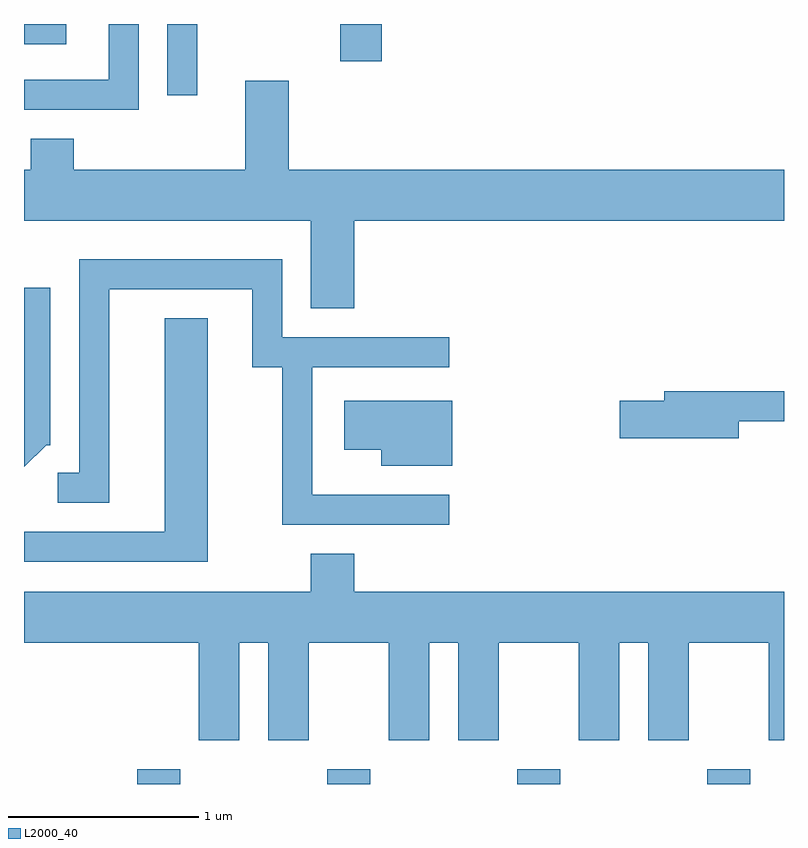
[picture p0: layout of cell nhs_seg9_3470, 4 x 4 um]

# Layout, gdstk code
import gdstk
lib = gdstk.Library(unit=1e-6, precision=1e-09)
def R(c, l, rs):  # rectangles x0, y0, x1, y1
    for r in rs: c.add(gdstk.rectangle(r[:2], r[2:], *l))
def A(c, l, x, y, w, h, nx, ny, dx, dy):  # array of equal rectangles
    R(c, l, [(x+i*dx, y+j*dy, x+i*dx+w, y+j*dy+h) for i in range(nx) for j in range(ny)])
def P(c, l, *ps):  # polygons
    for p in ps: c.add(gdstk.Polygon(p, *l))
L2000_40 = (2000, 40)

nhs_seg9_3470 = lib.new_cell('nhs_seg9_3470')
A(nhs_seg9_3470, L2000_40, 288.206, 1964.432, 0.228, 0.077, 4, 1, 1, 0)
R(nhs_seg9_3470, L2000_40, [(288.366,1968.058,288.524,1968.432), (289.276,1968.236,289.494,1968.432), (287.611,1968.326,287.834,1968.432)])
P(nhs_seg9_3470, L2000_40, [(288.214,1968.432),(288.056,1968.432),(288.056,1968.139),(287.611,1968.139),(287.611,1967.981),(288.214,1967.981)],
  [(289.349,1967.396),(291.611,1967.396),(291.611,1967.664),(289.004,1967.664),(289.004,1968.134),(288.776,1968.134),(288.776,1967.664),(287.874,1967.664),(287.874,1967.829),(287.646,1967.829),(287.646,1967.664),(287.611,1967.664),(287.611,1967.396),(289.121,1967.396),(289.121,1966.936),(289.349,1966.936)],
  [(289.848,1965.954),(289.129,1965.954),(289.129,1966.626),(289.848,1966.626),(289.848,1966.784),(288.969,1966.784),(288.969,1967.194),(287.901,1967.194),(287.901,1966.069),(287.788,1966.069),(287.788,1965.911),(288.059,1965.911),(288.059,1967.036),(288.811,1967.036),(288.811,1966.626),(288.971,1966.626),(288.971,1965.796),(289.848,1965.796)],
  [(287.727,1966.216),(287.749,1966.216),(287.749,1967.044),(287.611,1967.044),(287.611,1966.101)],
  [(288.579,1966.884),(288.351,1966.884),(288.351,1965.759),(287.611,1965.759),(287.611,1965.601),(288.579,1965.601)],
  [(291.374,1966.341),(291.611,1966.341),(291.611,1966.499),(290.981,1966.499),(290.981,1966.449),(290.746,1966.449),(290.746,1966.251),(291.374,1966.251)],
  [(289.864,1966.449),(289.296,1966.449),(289.296,1966.191),(289.491,1966.191),(289.491,1966.106),(289.864,1966.106)],
  [(288.744,1965.176),(288.896,1965.176),(288.896,1964.661),(289.109,1964.661),(289.109,1965.176),(289.531,1965.176),(289.531,1964.661),(289.744,1964.661),(289.744,1965.176),(289.896,1965.176),(289.896,1964.661),(290.109,1964.661),(290.109,1965.176),(290.531,1965.176),(290.531,1964.661),(290.744,1964.661),(290.744,1965.176),(290.896,1965.176),(290.896,1964.661),(291.109,1964.661),(291.109,1965.176),(291.531,1965.176),(291.531,1964.661),(291.611,1964.661),(291.611,1965.444),(289.349,1965.444),(289.349,1965.644),(289.121,1965.644),(289.121,1965.444),(287.611,1965.444),(287.611,1965.176),(288.531,1965.176),(288.531,1964.661),(288.744,1964.661)])

lib.write_gds('nhs_seg9_3470.gds')
